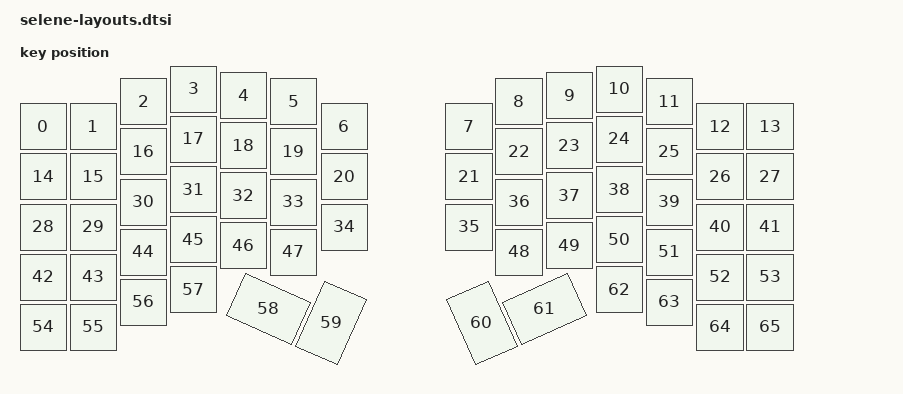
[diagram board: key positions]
#include <physical_layouts.dtsi>

/ {
    physical_layout0: physical_layout_0 {
        compatible = "zmk,physical-layout";
        display-name = "Default Layout";

        kscan = <&kscan0>;
        transform = <&default_transform>;

        keys  //                     w   h    x    y     rot    rx    ry
            = <&key_physical_attrs 100 100    0   75       0     0     0>
            , <&key_physical_attrs 100 100  100   75       0     0     0>
            , <&key_physical_attrs 100 100  201   25       0     0     0>
            , <&key_physical_attrs 100 100  301    0       0     0     0>
            , <&key_physical_attrs 100 100  401   13       0     0     0>
            , <&key_physical_attrs 100 100  501   25       0     0     0>
            , <&key_physical_attrs 100 100  602   75       0     0     0>
            , <&key_physical_attrs 100 100  852   75       0     0     0>
            , <&key_physical_attrs 100 100  952   25       0     0     0>
            , <&key_physical_attrs 100 100 1053   13       0     0     0>
            , <&key_physical_attrs 100 100 1153    0       0     0     0>
            , <&key_physical_attrs 100 100 1253   25       0     0     0>
            , <&key_physical_attrs 100 100 1354   75       0     0     0>
            , <&key_physical_attrs 100 100 1454   75       0     0     0>
            , <&key_physical_attrs 100 100    0  175       0     0     0>
            , <&key_physical_attrs 100 100  100  175       0     0     0>
            , <&key_physical_attrs 100 100  201  125       0     0     0>
            , <&key_physical_attrs 100 100  301  100       0     0     0>
            , <&key_physical_attrs 100 100  401  113       0     0     0>
            , <&key_physical_attrs 100 100  501  125       0     0     0>
            , <&key_physical_attrs 100 100  602  175       0     0     0>
            , <&key_physical_attrs 100 100  852  175       0     0     0>
            , <&key_physical_attrs 100 100  952  125       0     0     0>
            , <&key_physical_attrs 100 100 1053  113       0     0     0>
            , <&key_physical_attrs 100 100 1153  100       0     0     0>
            , <&key_physical_attrs 100 100 1253  125       0     0     0>
            , <&key_physical_attrs 100 100 1354  175       0     0     0>
            , <&key_physical_attrs 100 100 1454  175       0     0     0>
            , <&key_physical_attrs 100 100    0  276       0     0     0>
            , <&key_physical_attrs 100 100  100  276       0     0     0>
            , <&key_physical_attrs 100 100  201  226       0     0     0>
            , <&key_physical_attrs 100 100  301  201       0     0     0>
            , <&key_physical_attrs 100 100  401  213       0     0     0>
            , <&key_physical_attrs 100 100  501  226       0     0     0>
            , <&key_physical_attrs 100 100  602  276       0     0     0>
            , <&key_physical_attrs 100 100  852  276       0     0     0>
            , <&key_physical_attrs 100 100  952  226       0     0     0>
            , <&key_physical_attrs 100 100 1053  213       0     0     0>
            , <&key_physical_attrs 100 100 1153  201       0     0     0>
            , <&key_physical_attrs 100 100 1253  226       0     0     0>
            , <&key_physical_attrs 100 100 1354  276       0     0     0>
            , <&key_physical_attrs 100 100 1454  276       0     0     0>
            , <&key_physical_attrs 100 100    0  376       0     0     0>
            , <&key_physical_attrs 100 100  100  376       0     0     0>
            , <&key_physical_attrs 100 100  201  326       0     0     0>
            , <&key_physical_attrs 100 100  301  301       0     0     0>
            , <&key_physical_attrs 100 100  401  313       0     0     0>
            , <&key_physical_attrs 100 100  501  326       0     0     0>
            , <&key_physical_attrs 100 100  952  326       0     0     0>
            , <&key_physical_attrs 100 100 1053  313       0     0     0>
            , <&key_physical_attrs 100 100 1153  301       0     0     0>
            , <&key_physical_attrs 100 100 1253  326       0     0     0>
            , <&key_physical_attrs 100 100 1354  376       0     0     0>
            , <&key_physical_attrs 100 100 1454  376       0     0     0>
            , <&key_physical_attrs 100 100    0  476       0     0     0>
            , <&key_physical_attrs 100 100  100  476       0     0     0>
            , <&key_physical_attrs 100 100  201  426       0     0     0>
            , <&key_physical_attrs 100 100  301  401       0     0     0>
            , <&key_physical_attrs 150 100  426  440    2400   501   490>
            , <&key_physical_attrs 100 150  576  443    2400   626   518>
            , <&key_physical_attrs 100 150  878  443 (-2400)   928   518>
            , <&key_physical_attrs 150 100  978  440 (-2400)  1053   490>
            , <&key_physical_attrs 100 100 1153  401       0     0     0>
            , <&key_physical_attrs 100 100 1253  426       0     0     0>
            , <&key_physical_attrs 100 100 1354  476       0     0     0>
            , <&key_physical_attrs 100 100 1454  476       0     0     0>
            ;
    };
};
